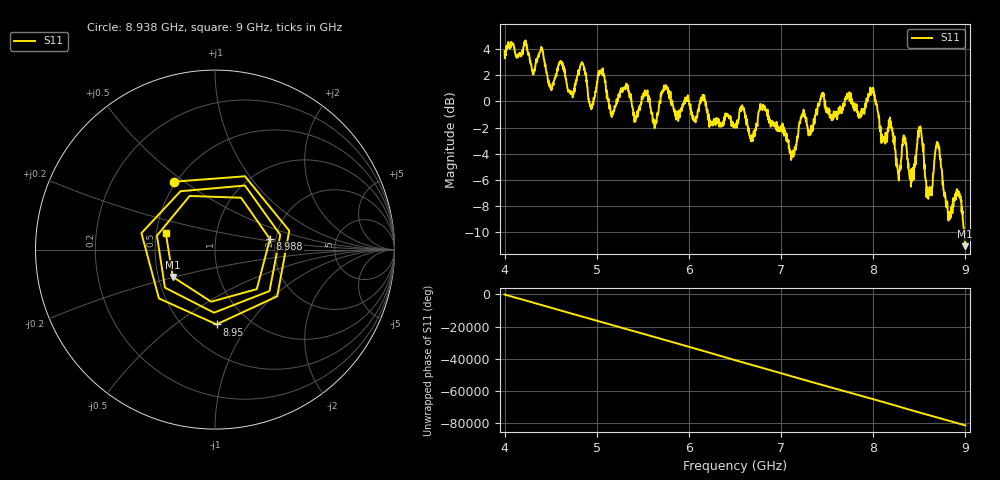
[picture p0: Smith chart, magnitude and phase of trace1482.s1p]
! Created with skrf 1.8.0 (http://scikit-rf.org).
# Hz S RI R 50.0
!freq ReS11 ImS11
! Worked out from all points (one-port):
!   1601 points, 4 GHz to 9 GHz, reference 50 ohm
!   lowest |S11| = -11.1 dB at 8.997 GHz (marker M1), VSWR 1.78, Z = 29.7 - j9.8 ohm
!   |S11| at or under -10 dB: 8.986445 GHz to 8.989551 GHz (3.106 MHz wide, 0.0346 % of centre); 8.991419 GHz to end of sweep
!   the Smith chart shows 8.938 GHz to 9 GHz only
!   S11 on the Smith chart (normalised r, x): 8.938 GHz: 0.49, +0.46; 8.95 GHz: 0.71, -0.72; 8.988 GHz: 1.86, +0.24; 9 GHz: 0.56, +0.11
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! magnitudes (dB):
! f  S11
! 4 GHz  3.8
! 4.506 GHz  0.8
! 4.625 GHz  3.0
! 4.728 GHz  0.8
! 4.847 GHz  2.9
! 4.938 GHz  -0.4
! 5.041 GHz  2.3
! 5.159 GHz  -0.9
! 5.25 GHz  0.6
! 5.875 GHz  -1.0
! 6.5 GHz  -2.0
! 6.8 GHz  -0.5
! 7.125 GHz  -4.0
! 7.234 GHz  -1.0
! 7.75 GHz  0.1
! 7.991 GHz  1.0
! 8.272 GHz  -5.6
! 8.375 GHz  -4.4
! 8.422 GHz  -5.9
! 8.506 GHz  -2.0
! 8.603 GHz  -6.7
! 8.694 GHz  -3.2
! 8.812 GHz  -8.4
! 8.938 GHz  -7.1
! 8.95 GHz  -7.6
! 8.988 GHz  -10.1
! 8.997 GHz  -11.1
! 9 GHz  -10.8
